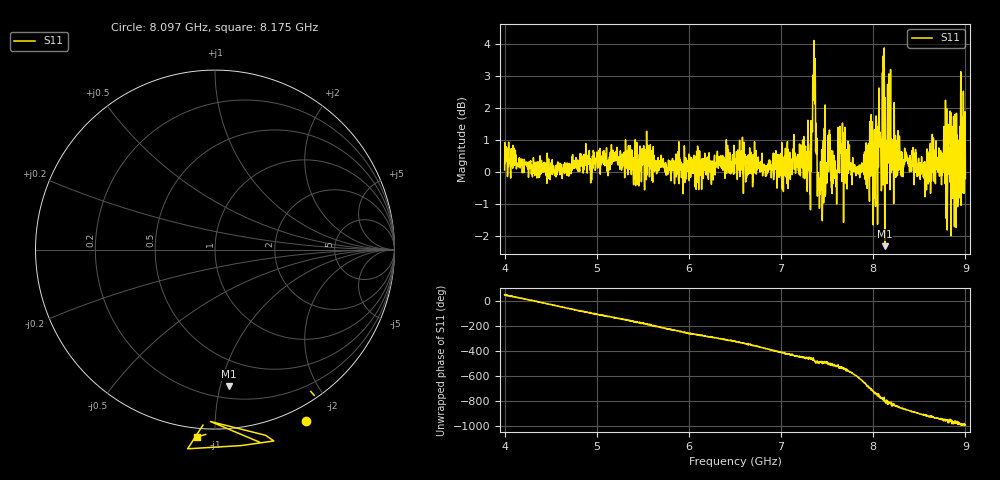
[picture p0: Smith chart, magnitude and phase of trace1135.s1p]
! Created with skrf 1.8.0 (http://scikit-rf.org).
# Hz S RI R 50.0
!freq ReS11 ImS11
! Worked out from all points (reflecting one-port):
!   1601 points, 4 GHz to 9 GHz, reference 50 ohm
!   lowest |S11| = -2.3 dB at 8.125 GHz (marker M1), VSWR 7.51, Z = 14.5 - j53.1 ohm
!   phase of S11 starts at 53 deg and turns -1045 deg over the sweep
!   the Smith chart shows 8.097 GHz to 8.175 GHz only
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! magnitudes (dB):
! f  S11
! 4 GHz  0.1
! 4.625 GHz  -0.2
! 5.25 GHz  0.1
! 5.875 GHz  0.2
! 6.5 GHz  0.3
! 7.125 GHz  0.4
! 7.294 GHz  0.2
! 7.356 GHz  4.1
! 7.369 GHz  3.5
! 7.4 GHz  -0.6
! 7.425 GHz  -0.7
! 7.525 GHz  1.3
! 7.591 GHz  -0.2
! 7.65 GHz  0.7
! 7.75 GHz  0.2
! 7.988 GHz  1.6
! 8.022 GHz  -0.7
! 8.053 GHz  1.2
! 8.066 GHz  1.3
! 8.125 GHz  -2.3
! 8.178 GHz  2.3
! 8.219 GHz  0.8
! 8.375 GHz  0.4
! 8.553 GHz  -0.2
! 8.834 GHz  1.9
! 8.919 GHz  -0.9
! 8.972 GHz  0.7
! 9 GHz  -0.2
